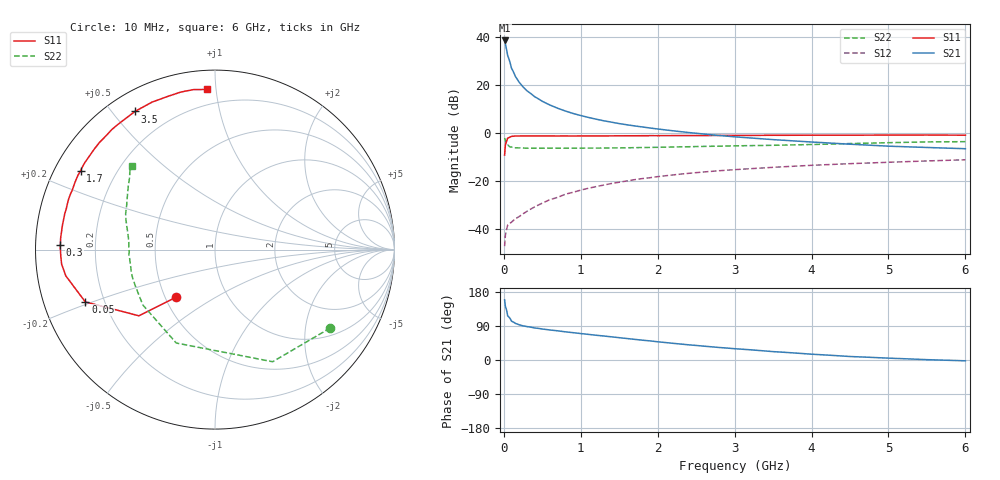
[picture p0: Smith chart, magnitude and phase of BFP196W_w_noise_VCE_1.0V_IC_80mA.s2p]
! (c) 2017  Infineon Technologies AG, Munich
! Infineon Technologies  Discrete & RF Semiconductors
! BFP196W
! VCE =  1.0 V,  IC =  80 mA
! Common Emitter S-Parameters:  Jan 2017
# GHz  S  MA  R  50
!  f  S11  S21  S12  S22
! GHz  MAG  ANG  MAG  ANG  MAG  ANG  MAG  ANG
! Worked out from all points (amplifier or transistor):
!   77 points, 10 MHz to 6 GHz, reference 50 ohm
!   highest |S21| = 38.4 dB at 10 MHz (marker M1)
!   |S21| within 3 dB of that: start of sweep to 30.43 MHz
!   unconditionally stable (mu >= 1): 377.8 MHz to end of sweep
!   at 130 MHz: K = 0.63, MSG = 30.6 dB, |S12| = -36.3 dB
!   at 2.2 GHz: K = 1.07, MAG = 7.6 dB, |S12| = -17.5 dB
!   at 6 GHz: K = 1.02, MAG = 1.3 dB, |S12| = -11.2 dB
!   lowest NFmin = 1.68 dB at 450 MHz
!   S11 on the Smith chart (normalised r, x): 10 MHz: 0.57, -0.34; 50 MHz: 0.13, -0.19; 300 MHz: 0.07, +0.01; 1.7 GHz: 0.08, +0.27; 3.5 GHz: 0.08, +0.57; 6 GHz: 0.11, +0.94
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0.01  0.344 -129.4  83.21 158.8  0.0044 70.4  0.7767 -34.2
0.02  0.5622 -139.0  70.46 141.5  0.0074 57.4  0.7025 -62.8
0.05  0.7787 -158.0  40.33 116.1  0.0121 39.3  0.5634 -112.5
0.1  0.844 -170.0  21.98 102.3  0.0139 41.1  0.5068 -142.5
0.15  0.8585 -174.6  14.89 96.6  0.0163 44.9  0.4881 -155.0
0.2  0.86 -177.8  11.22 92.9  0.0182 51.5  0.4853 -161.2
0.25  0.8613 -179.9  8.993 90.1  0.0207 53.6  0.4826 -165.5
0.3  0.8622 178.3  7.496 88.2  0.0233 57.2  0.4792 -168.3
0.4  0.8623 175.5  5.644 84.6  0.0288 61.2  0.4783 -172.1
0.5  0.8608 173.0  4.517 81.8  0.0345 63.1  0.4782 -174.8
0.6  0.8608 170.8  3.779 79.2  0.0409 64.8  0.4807 -176.8
0.7  0.86 168.9  3.239 77.0  0.0455 66.3  0.4781 -178.5
0.8  0.8607 166.6  2.841 74.3  0.053 67.1  0.4787 -179.7
1.1  0.8629 160.8  2.088 67.6  0.0705 66.2  0.4811 176.7
1.3  0.8617 157.1  1.778 63.3  0.0821 64.5  0.4829 174.7
1.7  0.8681 149.6  1.392 54.5  0.1062 61.4  0.4914 170.5
2.1  0.8731 142.3  1.15 46.1  0.128 57.1  0.5036 166.5
3.1  0.8829 126.1  0.804 28.4  0.1754 46.5  0.5388 157.2
3.5  0.8896 120.1  0.722 22.1  0.1917 42.7  0.5504 153.4
4.1  0.8926 111.9  0.631 14.2  0.2144 37.0  0.5761 147.8
5.1  0.898 101.3  0.521 4.1  0.2472 28.3  0.6277 139.2
6  0.8935 93.0  0.467 -2.2  0.2753 21.2  0.6551 134.8
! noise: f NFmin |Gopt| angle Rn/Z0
0.45  1.68  0.56  -175  0.06
0.9  1.8  0.59  -169  0.08
1.9  2.67  0.7  -148  0.2
2.4  3.09  0.74  -143  0.32
